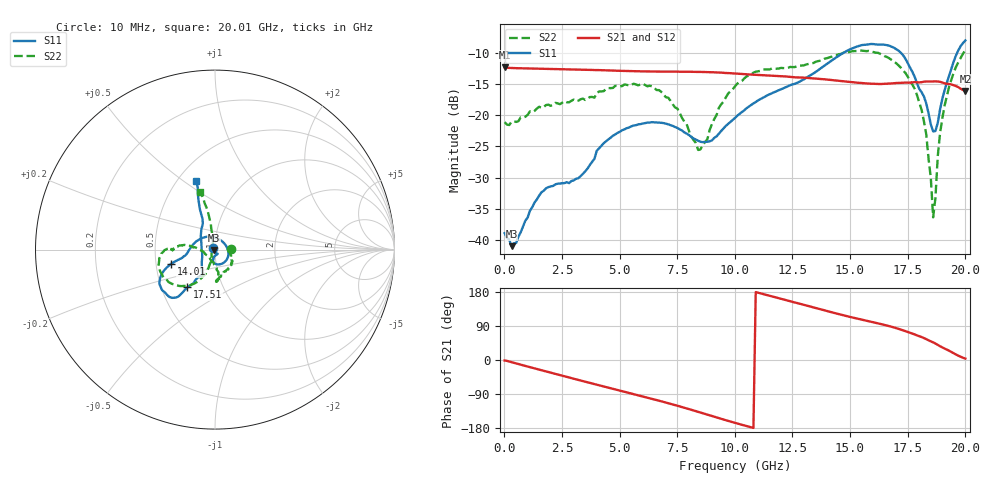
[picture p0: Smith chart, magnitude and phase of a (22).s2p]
! Hittite Microwave Corporation
! 2 Elizabeth Drive
! Chelmsford, MA 01824
! http://www.hittite.com
! Tel: 978-250-3343
! Fax: 978-250-3373
! Device:  HMC424LP3
! Description: 0.5 dB GaAs MMIC 6-Bit Digital Attenuator
! Frequency:  DC -  13.00 GHz
! Package:  LP3  - 3x3 mm Quad Flatpack No-Lead (QFN) Plastic Package: 16 pin
! Ports:  2 RF, 7 DC
!  Pad  1  = Ground
!  Pad  2  = RF IN  = Port 1
!  Pad  3  = Ground
!  Pad  4  = V6
!  Pad  5  = V5
!  Pad  6  = V4
!  Pad  7  = V3
!  Pad  8  = V2
!  Pad  9  = V1
!  Pad 10  = Ground
!  Pad 11  = RF OUT  = Port 2
!  Pad 12  = Ground
!  Pad 15  = VEE
! Control:  -5 Volt control voltage
! State:  20
! Attenuation:  10.0 dB
! Voltages:  Vdd = -5.00 Volts  Idd =  -2.434 mA
!  V1  = 0.00 Volts  I1  =  29.0 uA
!  V2  = 0.00 Volts  I2  =  29.0 uA
!  V3  = -5.00 Volts  I3  =  -1.0 uA
!  V4  = 0.00 Volts  I4  =  30.0 uA
!  V5  = -5.00 Volts  I5  =  -1.0 uA
!  V6  = 0.00 Volts  I6  =  30.0 uA
! Data:  The device was measured on evaluation board 105354-1.
!  Data was collected using a calibrated network analyzer.
!  The evaluation circuit board was modeled and simulated.  This was use
!  to removed the evaluation board circuit from the measured data.
!  The reference plane is the edge of the package pin.
! Misc:  Lot xxxx, Unit 1
!  Application 20120001, Data collected in Application 20090083
! Date Measured:  2009-09-15
! Date:  2012-05-14  MJV
! Note:
!  Hittite supplies this data as a sample of measured data at the package pin
!  for this product.  Your particular data for this product may vary.
!  Data was taken at 25 degrees C.
!  Hittite reserves the right to change this data at anytime.
# GHz S MA R 50
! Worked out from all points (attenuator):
!   201 points, 10 MHz to 20.01 GHz, reference 50 ohm
!   highest |S21| = -12.37 dB at 10 MHz (marker M1); lowest = -16.1 dB at 20.01 GHz (marker M2)
!   lowest |S11| = -41.0 dB at 310 MHz (marker M3), VSWR 1.02, Z = 49.2 - j0.362 ohm
!   |S11| at or under -10 dB: start of sweep to 14.73 GHz; 17.2 GHz to 19.66 GHz (2.453 GHz wide, 13.3 % of centre)
!   |S22| runs from -36.3 to -9.6 dB; largest |S21 - S12| = 0.0011
!   S11 on the Smith chart (normalised r, x): 10 MHz: 0.98, +0.01; 14.01 GHz: 0.60, -0.10; 17.51 GHz: 0.68, -0.31; 20.01 GHz: 0.61, +0.55
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0.01  0.01139 138.8  0.2407 -1.3  0.2416 -1.5  0.088 2.6
0.31  0.008953 -155.7  0.2382 -5.6  0.2381 -5.7  0.08851 -9.4
1.61  0.02417 -62.5  0.2352 -27.0  0.2349 -27.0  0.1144 -33.4
3.41  0.03394 -89.0  0.2313 -55.8  0.231 -55.8  0.1358 -63.8
4.71  0.06837 -98.3  0.2276 -76.2  0.2272 -76.2  0.165 -84.9
6.71  0.08706 -49.8  0.2232 -107.4  0.2227 -107.3  0.1587 -83.4
7.51  0.07899 -18.1  0.2229 -120.7  0.2226 -120.7  0.1129 -85.4
8.41  0.06247 32.0  0.2218 -136.7  0.2216 -136.7  0.05269 -125.0
10.01  0.09501 136.3  0.2154 -165.9  0.215 -165.8  0.1701 171.2
10.91  0.1274 168.9  0.2103 179.2  0.21 179.2  0.2228 177.1
13.41  0.2154 -164.4  0.1971 138.8  0.1967 138.8  0.2614 179.0
14.01  0.2584 -162.0  0.1927 129.1  0.1926 129.1  0.2861 -178.1
15.41  0.3592 -149.6  0.1813 107.9  0.181 107.9  0.3281 -160.0
16.71  0.3593 -131.6  0.1789 89.3  0.1787 89.3  0.2849 -134.7
17.51  0.2607 -126.2  0.1819 74.0  0.1816 74.0  0.2031 -118.5
18.21  0.1411 -120.6  0.1853 58.0  0.1851 58.0  0.08937 -109.8
18.51  0.08436 -147.8  0.1857 49.3  0.1853 49.3  0.03127 -128.1
18.61  0.07414 -165.0  0.186 46.5  0.1857 46.5  0.01523 -168.4
18.91  0.111 135.5  0.185 36.4  0.1848 36.4  0.07148 103.9
19.11  0.1588 115.4  0.1797 30.1  0.1794 30.1  0.1198 100.2
19.51  0.2714 109.2  0.1735 17.6  0.1733 17.6  0.2213 100.7
20.01  0.3961 105.9  0.156 3.7  0.1562 3.8  0.3323 104.9
